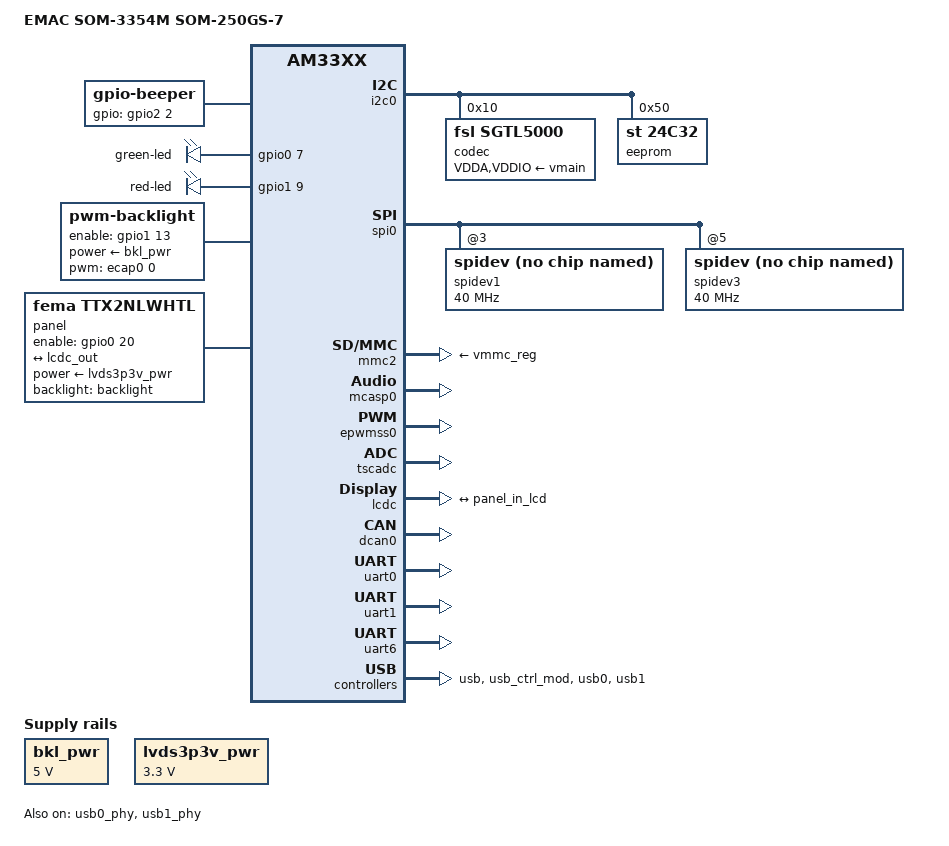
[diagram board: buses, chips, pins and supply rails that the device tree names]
/*
 * som-3354-250gs-7.dts - Device Tree file for the SOM-3354M with SOM-250GS
 *                        w/ 7 inch display
 *
 * Copyright (C) 2017 EMAC Inc.
 * Copyright (C) 2017 QWERTY Embedded Design
 *
 * This program is free software; you can redistribute it and/or modify
 * it under the terms of the GNU General Public License version 2 as
 * published by the Free Software Foundation.
 */

/dts-v1/;

#include "som-3354.dtsi"

/ {
	model = "EMAC SOM-3354M SOM-250GS-7";
	
	compatible = "emac,som3354-250gs", "emac,som3354", "ti,am33xx";

	chosen {
		stdout-path = &uart0;
	};

	beeper {
		compatible = "gpio-beeper";
		pinctrl-names = "default";
		pinctrl-0 = <&beeper_pin>;
		gpios = <&gpio2 2 GPIO_ACTIVE_HIGH>;
		status = "okay";
	};
	
	bkl_pwr: fixedregulator1 {
		compatible = "regulator-fixed";
		regulator-name = "lvds-backlight";
		regulator-min-microvolt = <5000000>;
		regulator-max-microvolt = <5000000>;
		regulator-always-on;
		enable-active-high;
	};

	lvds3p3v_pwr: fixedregulator2 {
		compatible = "regulator-fixed";
		regulator-name = "lvds3p3_en";
		regulator-min-microvolt = <3300000>;
		regulator-max-microvolt = <3300000>;
		regulator-always-on;
		enable-active-high;
	};

	leds {
		pinctrl-names = "default";
		pinctrl-0 = <&status_led_gpio_pin &som250_status_leds_pins>;

		led@1 {
			label = "green-led";
			gpios = <&gpio0 7 GPIO_ACTIVE_HIGH>;
			default-state = "on";
		};

		led@2 {
			label = "red-led";
			gpios = <&gpio1 9 GPIO_ACTIVE_HIGH>;
			default-state = "on";
		};
	};

	backlight: backlightbackloi{
		compatible = "pwm-backlight";
		pwms = <&ecap0 0 50000 0>;
		brightness-levels = <0 10 20 30 40 50 60 70 80 90 100>;
		default-brightness-level = <9>;
		enable-gpios = <&gpio1 13 GPIO_ACTIVE_HIGH>;
		power-supply = <&bkl_pwr>;
	};

	panel: lcd_panel {
		status = "okay";
		compatible = "fema,ttx2nlwhtl";
		pinctrl-names = "default";
		pinctrl-0 = <&lcd_pins &extra_lcd_pins>;
		backlight = <&backlight>;
		enable-gpios = <&gpio0 20 GPIO_ACTIVE_HIGH>;
		power-supply = <&lvds3p3v_pwr>;
		port {
			panel_in_lcd: endpoint {
				remote-endpoint = <&lcdc_out>;
			};
		};
	};

	sound {
		compatible = "simple-audio-card";
		simple-audio-card,format = "i2s";
		simple-audio-card,name = "som-250gs sgtl5000";
		simple-audio-card,widgets =
			"Microphone", "Microphone Jack",
			"Headphone", "Headphone Jack",
			"Speaker", "Speaker Ext",
			"Line", "Line In Jack";
		simple-audio-card,routing =
			"MIC_IN", "Microphone Jack",
			"Microphone Jack", "Mic Bias",
			"LINE_IN", "Line In Jack",
			"Headphone Jack", "HP_OUT",
			"Speaker Ext", "LINE_OUT";

		simple-audio-card,cpu {
			sound-dai = <&mcasp0>;
		};

		sound_master: simple-audio-card,codec {
			sound-dai = <&codec>;
			frame-master;
			bitclock-master;
		};
	};
};

&i2c0 {
	status = "okay";

	codec: sgtl5000@10 {
		#sound-dai-cells = <0>;
		compatible = "fsl,sgtl5000";
		reg = <0x10>;
		VDDA-supply = <&vmain>;
		VDDIO-supply = <&vmain>;
		clocks = <&si5351 2>;
	};

	eeprom@50 {
		compatible = "st,24c32";
		reg = <0x50>;
		pagesize = <32>;
	};
};

&spi0 {
	spidev1@3 {
		compatible = "emac,spidev";
		spi-max-frequency = <40000000>;
		status = "okay";
	};

	spidev3@5 {
		compatible = "emac,spidev";
		spi-max-frequency = <40000000>;
		status = "okay";
	};
};

&mmc2 { 
	vmmc-supply = <&vmmc_reg>;
	status = "okay";
};

&mcasp0 {
	status = "okay";
};


&epwmss0 {
	status = "okay";

	ecap0: pwm@100 {
		status = "okay";
		pinctrl-names = "default";
		pinctrl-0 = <&backlight_en_pin>;
	};
};


&tscadc {
	status = "okay";
	tsc{
		touchscreen-inverted-x;
		touchscreen-swapped-x-y;
		// change when not the 7 inch
		touchscreen-x-mm = <152>;
		touchscreen-y-mm = <91>;
	};
};

&lcdc {
	status = "okay";
	port {
		lcdc_out: endpoint {
			remote-endpoint = <&panel_in_lcd>;
		};
	};
};


&dcan0 {
	status = "okay";
};

&uart0 {
        status = "okay";
};

&uart1 {
	status = "okay";
};

&uart6 {
	status = "okay";
};

/*
&uart7 {
	status = "okay";
};
*/

&usb {
	status = "okay";
};
&usb_ctrl_mod {
	status = "okay";
};

&usb0 {
	pinctrl-0 = <&usb_otg_pins &usb_otg_pwr_en>;
	status = "okay";
};

&usb1 {
	status = "okay";
};
&usb0_phy {
	status = "okay";
};
&usb1_phy {
	status = "okay";
};



&am33xx_pinmux {
        /delete-node/ spi1_pins;
        gpio0_pins {
                pinctrl-single,pins = <
                        AM33XX_IOPAD(0x9b0, PIN_INPUT_PULLDOWN | MUX_MODE7) /* IRQA (A15) xdma_event_intr0.gpio0[19] */
                >;
        };
        /delete-node/ gpio1_pins;
        /delete-node/ timer4_pins;

        som250_status_leds_pins: som250_status_leds_pins {
                pinctrl-single,pins = <
                        AM33XX_IOPAD(0x964, PIN_OUTPUT_PULLUP | MUX_MODE7) /* (C18) eCAP0_in_PWM0_out.gpio0[7] */
                        AM33XX_IOPAD(0x96c, PIN_OUTPUT_PULLUP | MUX_MODE7) /* (E17) uart0_rtsn.gpio1[9] */
                >;
        };
        backlight_en_pin: backlight_en_pin {
                pinctrl-single,pins = <
                        AM33XX_IOPAD(0x834, PIN_OUTPUT_PULLUP | MUX_MODE7) /* GPIO0 (R12) gpmc_ad13.gpio1[13] */
                >;
        };
        beeper_pin: beeper_pin{
                pinctrl-single,pins = <
                        AM33XX_IOPAD(0x890, PIN_INPUT_PULLDOWN | MUX_MODE7) /* GPIO14 (R7) gpmc_advn_ale.timer4 */
                >;
        };
        usb_otg_pwr_en: usb_otg_pwr_en {
                pinctrl-single,pins = <
                        AM33XX_IOPAD(0x968, PIN_INPUT_PULLUP | MUX_MODE4) /* (E18) uart0_ctsn.spi1_d0 */
                >;
        };
       extra_lcd_pins: extra_lcd_pins {
               pinctrl-single,pins = <
                       AM33XX_IOPAD(0x99c, PIN_OUTPUT_PULLUP | MUX_MODE7) /* (C12) mcasp0_ahclkr.gpio3[17] */
                       AM33XX_IOPAD(0x9b4, PIN_OUTPUT_PULLUP | MUX_MODE7) /* GPIO15 (D14) xdma_event_intr1.gpio0[20] */
               >;
       };
};
